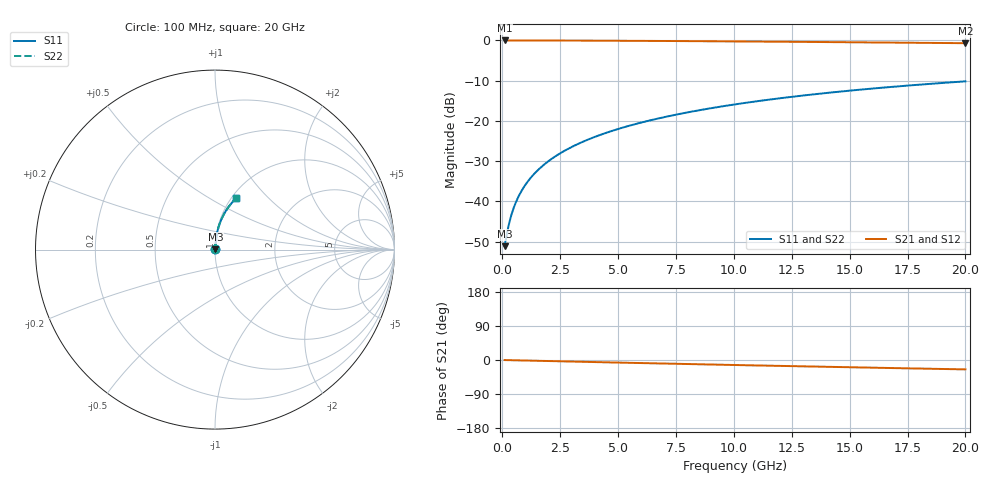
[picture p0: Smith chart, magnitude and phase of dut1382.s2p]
! Touchstone file exported from HFSS 2024.1.0
!  File:  C:/UserFiles/LocalFiles/RDL_TSV_Batchsim/temp_RDL_bottom_1382_1780371583.aedt
!  Generated:  11:42:38 AM Jun  2, 2026
!  Design:  RDL_bottom
!  Project:  temp_RDL_bottom_1382_1780371583
!  Setup:  Setup1
!  Solution:  Sweep
! Variables:
!  dtsv = 10.80580581um
!  hbump = 3um
!  htsv = 91.56um
!  ldown = 270.57um
!  lrdl = 100um
!  p = 40
!  p1 = 54.65um
!  rhole = 1um
!  t = 450um
!  tdown = 3.21um
!  trdl = 3.915915916um
!  wdown = 14.5um
!  wrdl = 20um
# GHz S MA R 50.000000
! Terminal data exported
! Port[1] = RDL1_T1
! Port[2] = RDL1_T2
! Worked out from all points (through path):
!   200 points, 100 MHz to 20 GHz, reference 50 ohm
!   highest |S21| = -0.02 dB at 100 MHz (marker M1); lowest = -0.7 dB at 20 GHz (marker M2)
!   group delay of S21, straight-line fit = 3.43 ps
!   lowest |S11| = -51.2 dB at 100 MHz (marker M3), VSWR 1.01, Z = 50.2 + j0.164 ohm
!   |S11| at or under -10 dB: start of sweep to end of sweep
!   |S22| runs from -51.2 to -10.2 dB; largest |S21 - S12| = 3.6e-15
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0.1  0.002768 36.2  0.9978 -0.1  0.9978 -0.1  0.002768 36.2
! Gamma 0 0 0 0
! Port Impedance 50 0 50 0
0.2  0.003974 55.1  0.9977 -0.3  0.9977 -0.3  0.003974 55.1
0.3  0.005395 64.4  0.9977 -0.4  0.9977 -0.4  0.005395 64.4
0.4  0.006884 69.7  0.9976 -0.6  0.9976 -0.6  0.006884 69.7
0.5  0.008398 73.0  0.9975 -0.7  0.9975 -0.7  0.008398 73.0
0.6  0.009923 75.3  0.9974 -0.8  0.9974 -0.8  0.009923 75.3
0.8  0.01299 78.3  0.9973 -1.1  0.9973 -1.1  0.01299 78.3
1.1  0.01761 80.8  0.997 -1.5  0.997 -1.5  0.01761 80.8
1.5  0.02382 82.5  0.9966 -2.1  0.9966 -2.1  0.02382 82.5
1.8  0.0285 83.2  0.9963 -2.5  0.9963 -2.5  0.0285 83.2
2.1  0.0332 83.7  0.9959 -2.9  0.9959 -2.9  0.0332 83.7
2.7  0.04263 84.1  0.9949 -3.7  0.9949 -3.7  0.04263 84.1
3.5  0.05528 84.2  0.9933 -4.8  0.9933 -4.8  0.05528 84.2
4.2  0.0664 84.0  0.9917 -5.7  0.9917 -5.7  0.0664 84.0
5  0.07916 83.6  0.9895 -6.8  0.9895 -6.8  0.07917 83.6
5.9  0.09358 82.9  0.9867 -8.0  0.9867 -8.0  0.09359 82.9
6.8  0.108 82.2  0.9837 -9.2  0.9837 -9.2  0.108 82.2
8.3  0.1322 80.7  0.9781 -11.1  0.9781 -11.1  0.1322 80.7
10.1  0.161 78.8  0.9708 -13.3  0.9708 -13.3  0.161 78.8
13.4  0.2128 75.1  0.956 -17.3  0.956 -17.3  0.2128 75.1
16.7  0.2625 71.3  0.9399 -21.1  0.9399 -21.1  0.2625 71.3
20  0.3096 67.6  0.9225 -24.8  0.9225 -24.8  0.3096 67.6
